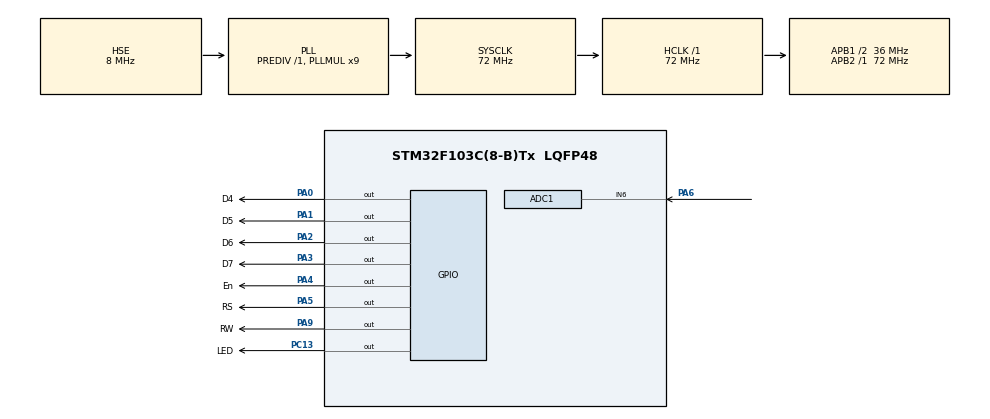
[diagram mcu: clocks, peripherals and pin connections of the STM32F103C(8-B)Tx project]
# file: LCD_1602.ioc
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ADC1.Channel-3\#ChannelRegularConversion=ADC_CHANNEL_6
ADC1.ContinuousConvMode=ENABLE
ADC1.EnableRegularConversion=ENABLE
ADC1.NbrOfConversion=1
ADC1.NbrOfConversionFlag=1
ADC1.Rank-3\#ChannelRegularConversion=1
ADC1.SamplingTime-3\#ChannelRegularConversion=ADC_SAMPLETIME_71CYCLES_5
ADC1.master=1
Dma.ADC1.0.Direction=DMA_PERIPH_TO_MEMORY
Dma.ADC1.0.Instance=DMA1_Channel1
Dma.ADC1.0.MemDataAlignment=DMA_MDATAALIGN_HALFWORD
Dma.ADC1.0.MemInc=DMA_MINC_ENABLE
Dma.ADC1.0.Mode=DMA_CIRCULAR
Dma.ADC1.0.PeriphDataAlignment=DMA_PDATAALIGN_HALFWORD
Dma.ADC1.0.PeriphInc=DMA_PINC_DISABLE
Dma.ADC1.0.Priority=DMA_PRIORITY_LOW
Dma.Request0=ADC1
Mcu.Family=STM32F1
Mcu.Name=STM32F103C(8-B)Tx
Mcu.Package=LQFP48
NVIC.DMA1_Channel1_IRQn=true\:0\:0\:false\:false\:true\:false\:true\:true
NVIC.PriorityGroup=NVIC_PRIORITYGROUP_4
PA0-WKUP.GPIO_Label=D4
PA0-WKUP.Signal=GPIO_Output
PA1.GPIO_Label=D5
PA1.Signal=GPIO_Output
PA13.Mode=Serial_Wire
PA13.Signal=SYS_JTMS-SWDIO
PA14.Mode=Serial_Wire
PA14.Signal=SYS_JTCK-SWCLK
PA2.GPIO_Label=D6
PA2.Signal=GPIO_Output
PA3.GPIO_Label=D7
PA3.Signal=GPIO_Output
PA4.GPIO_Label=En
PA4.GPIO_PuPd=GPIO_PULLDOWN
PA4.Signal=GPIO_Output
PA5.GPIO_Label=RS
PA5.GPIO_PuPd=GPIO_PULLDOWN
PA5.Signal=GPIO_Output
PA6.Signal=ADCx_IN6
PA9.GPIO_Label=RW
PA9.GPIO_PuPd=GPIO_PULLDOWN
PA9.Signal=GPIO_Output
PC13-TAMPER-RTC.GPIO_Label=LED
PC13-TAMPER-RTC.Signal=GPIO_Output
PD0-OSC_IN.Mode=HSE-External-Oscillator
PD0-OSC_IN.Signal=RCC_OSC_IN
PD1-OSC_OUT.Mode=HSE-External-Oscillator
PD1-OSC_OUT.Signal=RCC_OSC_OUT
ProjectManager.HeapSize=0x200
ProjectManager.StackSize=0x400
ProjectManager.TargetToolchain=STM32CubeIDE
RCC.ADCPresc=RCC_ADCPCLK2_DIV8
RCC.AHBFreq_Value=72000000
RCC.APB1CLKDivider=RCC_HCLK_DIV2
RCC.APB1Freq_Value=36000000
RCC.APB1TimFreq_Value=72000000
RCC.APB2Freq_Value=72000000
RCC.APB2TimFreq_Value=72000000
RCC.HCLKFreq_Value=72000000
RCC.PLLMUL=RCC_PLL_MUL9
RCC.PLLSourceVirtual=RCC_PLLSOURCE_HSE
RCC.SYSCLKFreq_VALUE=72000000
RCC.SYSCLKSource=RCC_SYSCLKSOURCE_PLLCLK
RCC.USBFreq_Value=72000000
SH.ADCx_IN6.0=ADC1_IN6,IN6
board=custom

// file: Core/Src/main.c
/* USER CODE BEGIN Header */
/**
  ******************************************************************************
  * @file           : main.c
  * @brief          : Main program body
  ******************************************************************************
  * @attention
  *
  * Copyright (c) 2023 STMicroelectronics.
  * All rights reserved.
  *
  * This software is licensed under terms that can be found in the LICENSE file
  * in the root directory of this software component.
  * If no LICENSE file comes with this software, it is provided AS-IS.
  *
  ******************************************************************************
  */
/* USER CODE END Header */
#include "main.h"

/* USER CODE BEGIN Includes */
#include "string.h"
#include "stdio.h"
/* USER CODE END Includes */

ADC_HandleTypeDef hadc1;
DMA_HandleTypeDef hdma_adc1;

void SystemClock_Config(void);
static void MX_GPIO_Init(void);
static void MX_DMA_Init(void);
static void MX_ADC1_Init(void);
/* USER CODE BEGIN PFP */

void Init1602(void);
void Write_Init4b_Command(uint8_t data);
void Write4b_Command(uint8_t data);
void Write_Init8b_Command(uint8_t data);
void Write4b_Data(uint8_t data);
void Strob (void);
void LCD_string (uint8_t *str);

uint16_t temperTMP37 = 0;
uint16_t settemperTMP37 = 40;
uint16_t adcVoltage;

/* USER CODE END PFP */

/* USER CODE BEGIN 0 */
volatile uint16_t adcData = 0;
char trans_str[16] = {0,};
uint16_t temper = 0;
/* USER CODE END 0 */

int main(void)
{

  /* MCU Configuration--------------------------------------------------------*/

  /* Reset of all peripherals, Initializes the Flash interface and the Systick. */
  HAL_Init();

  /* Configure the system clock */
  SystemClock_Config();

  /* Initialize all configured peripherals */
  MX_GPIO_Init();
  MX_DMA_Init();
  MX_ADC1_Init();

  /* Infinite loop */
  /* USER CODE BEGIN WHILE */

  Init1602();                         // инициализация для 4битного управления (можно изменить)
	uint8_t DDRAM = 0;                  // адрес для первого символа, начало экрана, первая строка

	HAL_ADC_Start_DMA(&hadc1, (uint32_t*)&adcData, 1); // DMA вытаскивает с АЦП значение и отправляет
	Write4b_Command(0x80 | DDRAM);
	LCD_string ("Measure Temp*C");
	DDRAM = 0x40;
  Write4b_Command(0x80 | DDRAM);
	temper = 1024;
	HAL_Delay (100);

  while (1)
  {
    /* USER CODE END WHILE */

    /* USER CODE BEGIN 3 */
		Write4b_Command(0x80 | DDRAM);
		snprintf(trans_str, 9, "ADC %d\n", adcData); //упаковали всё в массив для отображения в ASCII
		LCD_string (trans_str);
		HAL_GPIO_TogglePin(LED_GPIO_Port, LED_Pin);
	  HAL_Delay(300);
  }
  /* USER CODE END 3 */
}

void SystemClock_Config(void)
{
  RCC_OscInitTypeDef RCC_OscInitStruct = {0};
  RCC_ClkInitTypeDef RCC_ClkInitStruct = {0};
  RCC_PeriphCLKInitTypeDef PeriphClkInit = {0};

  /** Initializes the RCC Oscillators according to the specified parameters
  * in the RCC_OscInitTypeDef structure.
  */
  RCC_OscInitStruct.OscillatorType = RCC_OSCILLATORTYPE_HSE;
  RCC_OscInitStruct.HSEState = RCC_HSE_ON;
  RCC_OscInitStruct.HSEPredivValue = RCC_HSE_PREDIV_DIV1;
  RCC_OscInitStruct.HSIState = RCC_HSI_ON;
  RCC_OscInitStruct.PLL.PLLState = RCC_PLL_ON;
  RCC_OscInitStruct.PLL.PLLSource = RCC_PLLSOURCE_HSE;
  RCC_OscInitStruct.PLL.PLLMUL = RCC_PLL_MUL9;
  if (HAL_RCC_OscConfig(&RCC_OscInitStruct) != HAL_OK)
  {
    Error_Handler();
  }

  /** Initializes the CPU, AHB and APB buses clocks
  */
  RCC_ClkInitStruct.ClockType = RCC_CLOCKTYPE_HCLK|RCC_CLOCKTYPE_SYSCLK
                              |RCC_CLOCKTYPE_PCLK1|RCC_CLOCKTYPE_PCLK2;
  RCC_ClkInitStruct.SYSCLKSource = RCC_SYSCLKSOURCE_PLLCLK;
  RCC_ClkInitStruct.AHBCLKDivider = RCC_SYSCLK_DIV1;
  RCC_ClkInitStruct.APB1CLKDivider = RCC_HCLK_DIV2;
  RCC_ClkInitStruct.APB2CLKDivider = RCC_HCLK_DIV1;

  if (HAL_RCC_ClockConfig(&RCC_ClkInitStruct, FLASH_LATENCY_2) != HAL_OK)
  {
    Error_Handler();
  }
  PeriphClkInit.PeriphClockSelection = RCC_PERIPHCLK_ADC;
  PeriphClkInit.AdcClockSelection = RCC_ADCPCLK2_DIV8;
  if (HAL_RCCEx_PeriphCLKConfig(&PeriphClkInit) != HAL_OK)
  {
    Error_Handler();
  }
}

static void MX_ADC1_Init(void)
{

  ADC_ChannelConfTypeDef sConfig = {0};

  /** Common config
  */
  hadc1.Instance = ADC1;
  hadc1.Init.ScanConvMode = ADC_SCAN_DISABLE;
  hadc1.Init.ContinuousConvMode = ENABLE;
  hadc1.Init.DiscontinuousConvMode = DISABLE;
  hadc1.Init.ExternalTrigConv = ADC_SOFTWARE_START;
  hadc1.Init.DataAlign = ADC_DATAALIGN_RIGHT;
  hadc1.Init.NbrOfConversion = 1;
  if (HAL_ADC_Init(&hadc1) != HAL_OK)
  {
    Error_Handler();
  }

  /** Configure Regular Channel
  */
  sConfig.Channel = ADC_CHANNEL_6;
  sConfig.Rank = ADC_REGULAR_RANK_1;
  sConfig.SamplingTime = ADC_SAMPLETIME_71CYCLES_5;
  if (HAL_ADC_ConfigChannel(&hadc1, &sConfig) != HAL_OK)
  {
    Error_Handler();
  }

}

static void MX_DMA_Init(void)
{

  /* DMA controller clock enable */
  __HAL_RCC_DMA1_CLK_ENABLE();

  /* DMA interrupt init */
  /* DMA1_Channel1_IRQn interrupt configuration */
  HAL_NVIC_SetPriority(DMA1_Channel1_IRQn, 0, 0);
  HAL_NVIC_EnableIRQ(DMA1_Channel1_IRQn);

}

static void MX_GPIO_Init(void)
{
  GPIO_InitTypeDef GPIO_InitStruct = {0};

  /* GPIO Ports Clock Enable */
  __HAL_RCC_GPIOC_CLK_ENABLE();
  __HAL_RCC_GPIOD_CLK_ENABLE();
  __HAL_RCC_GPIOA_CLK_ENABLE();

  /*Configure GPIO pin Output Level */
  HAL_GPIO_WritePin(LED_GPIO_Port, LED_Pin, GPIO_PIN_RESET);

  /*Configure GPIO pin Output Level */
  HAL_GPIO_WritePin(GPIOA, D4_Pin|D5_Pin|D6_Pin|D7_Pin
                          |En_Pin|RS_Pin|RW_Pin, GPIO_PIN_RESET);

  /*Configure GPIO pin : LED_Pin */
  GPIO_InitStruct.Pin = LED_Pin;
  GPIO_InitStruct.Mode = GPIO_MODE_OUTPUT_PP;
  GPIO_InitStruct.Pull = GPIO_NOPULL;
  GPIO_InitStruct.Speed = GPIO_SPEED_FREQ_LOW;
  HAL_GPIO_Init(LED_GPIO_Port, &GPIO_InitStruct);

  /*Configure GPIO pins : D4_Pin D5_Pin D6_Pin D7_Pin */
  GPIO_InitStruct.Pin = D4_Pin|D5_Pin|D6_Pin|D7_Pin;
  GPIO_InitStruct.Mode = GPIO_MODE_OUTPUT_PP;
  GPIO_InitStruct.Pull = GPIO_NOPULL;
  GPIO_InitStruct.Speed = GPIO_SPEED_FREQ_LOW;
  HAL_GPIO_Init(GPIOA, &GPIO_InitStruct);

  /*Configure GPIO pins : En_Pin RS_Pin RW_Pin */
  GPIO_InitStruct.Pin = En_Pin|RS_Pin|RW_Pin;
  GPIO_InitStruct.Mode = GPIO_MODE_OUTPUT_PP;
  GPIO_InitStruct.Pull = GPIO_PULLDOWN;
  GPIO_InitStruct.Speed = GPIO_SPEED_FREQ_LOW;
  HAL_GPIO_Init(GPIOA, &GPIO_InitStruct);

}

/* USER CODE BEGIN 4 */

void Init1602(void)
	{
		HAL_Delay(100);
/******************* Определить команду (функцию) можно по первому установленному в 1 биту, после него могут идти еще биты управления *******************/
/******************* 0011.xxxx - отправляем на старший полубайт (nibble) Fset команду включения 8битного интерфейса (просто так нужно 3 раза, не 2) *******************/
		Write_Init8b_Command (0x3);
		Write_Init8b_Command (0x3);
		Write_Init8b_Command (0x3);

/******************* 0010.xxxx - отправляем на старший полубайт (nibble) Fset команду включения 4битного интерфейса *******************/
		Write_Init8b_Command (0x2);

/******************* 0010.11xx -  отправляем двумя полубайтами Fset команду включения 4битного интерфейса с настройками *******************/
	//		0010 			-  4 битный интерфейс
	//				.11xx -	 2 линии (1), размер символов 5x10 точек (1)
		Write_Init4b_Command(0x2C);

/******************* 0000.1111 - отправляем двумя полубайтами команду "Настройка режима отображения" *******************/
//					.1111 -  определение команды в DB3 бит (1), включение отображения (1), курсор (1), квадрат мигает(1)
		Write_Init4b_Command(0x0F);

/******************* 0001.11xx - отправляем двумя полубайтами команду "Настройка режима отображения" *******************/
		Write_Init4b_Command(0x1C);

/******************* 0000.0001 - отправляем двумя полубайтами команду "Очистка экрана. Счетчик адреса на 0 позицию DDRAM" *******************/
		Write_Init4b_Command(0x01);

/******************* 0000.0110 - отправляем двумя полубайтами команду "	Настройка сдвига экрана и курсора" *******************/
//					.0110 -  определение команды в DB2 бит (1), инкремент счетчика адреса (1), не сдвигаем экран (0)
		Write_Init4b_Command(0x06);
	}

/***********************************************************************************************************
DB7		DB6		DB5		DB4		| DB3		DB2		DB1		DB0		Значение
	0			0			0			0		| 	0			0			0			1		Очистка экрана. Счетчик адреса на 0 позицию DDRAM
	0			0			0			0		| 	0			0			1			—		Адресация на DDRAM сброс сдвигов, Счетчик адреса на 0
	0			0			0			0		| 	0			1			I/D 	S		Настройка сдвига экрана и курсора
	0			0			0			0		| 	1			D			C			B		Настройка режима отображения
	0			0			0			1		| 	S/C		R/L		—			—		Сдвиг курсора или экрана, в зависимости от битов
	0			0			1			DL	| 	N			F			—			—		Выбор числа линий, ширины шины и размера символа
	0			1			AG		AG	| 	AG		AG		AG		AG	Переключить адресацию на SGRAM и задать адрес в SGRAM
	1			AD		AD		AD	| 	AD		AD		AD		AD	Переключить адресацию на DDRAM и задать адрес в DDRAM

I/D — инкремент или декремент счетчика адреса. По дефолту стоит 0 — Декремент. Т.е. каждый следующий байт будет записан в n-1 ячейку. Если поставить 1 — будет Инкремент.
S — сдвиг экрана, если поставить 1 то с каждым новым символом будет сдвигаться окно экрана, пока не достигнет конца DDRAM,
		наверное удобно будет когда выводишь на экран здоровенную строку, на все 40 символов, чтобы не убегала за экран.
D — включить дисплей. Если поставить туда 0 то изображение исчезнет, а мы в это время можем в видеопамяти творить всякие непотребства и они не будут мозолить глаза.
		А чтобы картинка появилась в эту позицию надо записать 1.
С — включить курсор в виде прочерка. Все просто, записали сюда 1 — включился курсор.
B — сделать курсор в виде мигающего черного квадрата.
S/C сдвиг курсора или экрана. Если стоит 0, то сдвигается курсор. Если 1, то экран. По одному разу за команду
R/L — определяет направление сдвига курсора и экрана. 0 — влево, 1 — вправо.
D/L — бит определяющий ширину шины данных. 1-8 бит, 0-4 бита
N — число строк. 0 — одна строка, 1 — две строки.
F — размер символа 0 — 5х8 точек. 1 — 5х10 точек (встречается крайне редко)
AG — адрес в памяти CGRAM
АD — адрес в памяти DDRAM
************************************************************************************************************/

/************* Стробирование. После выставления данных ****************************/
void Strob (void)
	{
	HAL_GPIO_WritePin(En_GPIO_Port, En_Pin, 1);
	HAL_Delay(1);
	HAL_GPIO_WritePin(En_GPIO_Port, En_Pin, 0);
	HAL_Delay(1);
	}

/************** Команда инициализации. Передача одним байтом ***********************/
void Write_Init8b_Command(uint8_t data)
	{
	HAL_GPIO_WritePin(RS_GPIO_Port, RS_Pin, 0);
	HAL_GPIO_WritePin(RW_GPIO_Port, RW_Pin, 0);
	GPIOA->BSRR = (0x0F<<16);
	GPIOA->BSRR |= data;
		Strob();
	HAL_Delay(5);
	}

/************** Команда инициализации. Передача двумя полубайтами ******************/
void Write_Init4b_Command(uint8_t data)
	{
	HAL_GPIO_WritePin(RS_GPIO_Port, RS_Pin, 0);
	HAL_GPIO_WritePin(RW_GPIO_Port, RW_Pin, 0);
	GPIOA->BSRR = (0x0F<<16);
	GPIOA->BSRR |= (data>>4);
		Strob();
	GPIOA->BSRR = (0x0F<<16);
	GPIOA->BSRR |= data;
		Strob();
	HAL_Delay(2);
	}

/************** Команда. Передача двумя полубайтами *********************************/
	void Write4b_Command(uint8_t data)
	{
	HAL_GPIO_WritePin(RS_GPIO_Port, RS_Pin, 0);
	HAL_GPIO_WritePin(RW_GPIO_Port, RW_Pin, 0);
	GPIOA->BSRR = (0x0F<<16);
	GPIOA->BSRR |= (data>>4);
		Strob();
	GPIOA->BSRR = (0x0F<<16);
	GPIOA->BSRR |= data;
		Strob();
	HAL_Delay(2);
	}

/************** Данные. Передача двумя полубайтами ***********************************/
void Write4b_Data(uint8_t data)
	{
	HAL_GPIO_WritePin(RS_GPIO_Port, RS_Pin, 1);
	HAL_GPIO_WritePin(RW_GPIO_Port, RW_Pin, 0);
	GPIOA->BSRR = (0x0F<<16);
	GPIOA->BSRR |= (data>>4);
		Strob();
	GPIOA->BSRR = (0x0F<<16);
	GPIOA->BSRR |= data;
		Strob();
	HAL_Delay(2);
	}

/************** Массив. Передача в LCD1602 ********************************************/
void LCD_string (uint8_t *str)
{
	uint8_t data = 0;
	while (*str)
	{
		data = *str++;
		Write4b_Data(data);
	}
}

/* USER CODE END 4 */

void Error_Handler(void)
{
  __disable_irq();
  while (1)
  {
  }
}
